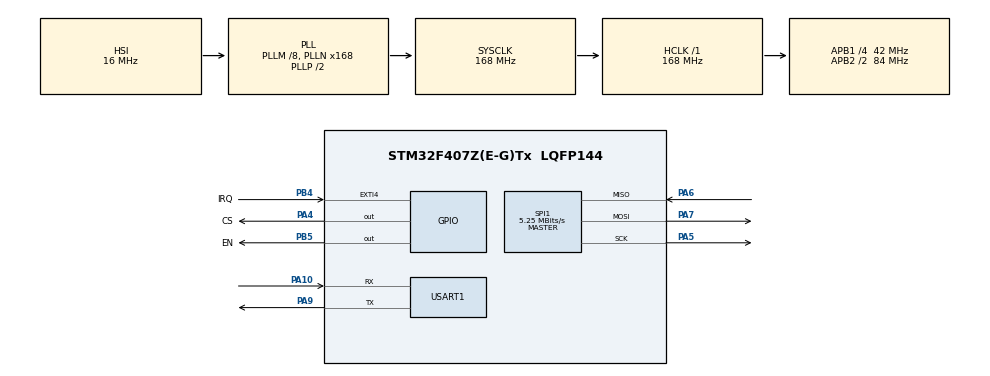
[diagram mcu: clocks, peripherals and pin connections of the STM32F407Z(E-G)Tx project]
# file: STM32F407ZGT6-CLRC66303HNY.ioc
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Mcu.Family=STM32F4
Mcu.Name=STM32F407Z(E-G)Tx
Mcu.Package=LQFP144
NVIC.EXTI4_IRQn=true\:1\:0\:true\:false\:true\:true\:true\:true
NVIC.PriorityGroup=NVIC_PRIORITYGROUP_4
PA10.Mode=Asynchronous
PA10.Signal=USART1_RX
PA13.Mode=Serial_Wire
PA13.Signal=SYS_JTMS-SWDIO
PA14.Mode=Serial_Wire
PA14.Signal=SYS_JTCK-SWCLK
PA4.GPIO_Label=CS
PA4.PinState=GPIO_PIN_SET
PA4.Signal=GPIO_Output
PA5.Mode=Full_Duplex_Master
PA5.Signal=SPI1_SCK
PA6.Mode=Full_Duplex_Master
PA6.Signal=SPI1_MISO
PA7.Mode=Full_Duplex_Master
PA7.Signal=SPI1_MOSI
PA9.Mode=Asynchronous
PA9.Signal=USART1_TX
PB4.GPIO_Label=IRQ
PB4.GPIO_ModeDefaultEXTI=GPIO_MODE_IT_FALLING
PB4.GPIO_PuPd=GPIO_PULLUP
PB4.Signal=GPXTI4
PB5.GPIO_Label=EN
PB5.Signal=GPIO_Output
PC14-OSC32_IN.Mode=LSE-External-Oscillator
PC14-OSC32_IN.Signal=RCC_OSC32_IN
PC15-OSC32_OUT.Mode=LSE-External-Oscillator
PC15-OSC32_OUT.Signal=RCC_OSC32_OUT
PH0-OSC_IN.Mode=HSE-External-Oscillator
PH0-OSC_IN.Signal=RCC_OSC_IN
PH1-OSC_OUT.Mode=HSE-External-Oscillator
PH1-OSC_OUT.Signal=RCC_OSC_OUT
ProjectManager.HeapSize=0x200
ProjectManager.StackSize=0x400
ProjectManager.TargetToolchain=CMake
RCC.48MHZClocksFreq_Value=84000000
RCC.AHBFreq_Value=168000000
RCC.APB1CLKDivider=RCC_HCLK_DIV4
RCC.APB1Freq_Value=42000000
RCC.APB1TimFreq_Value=84000000
RCC.APB2CLKDivider=RCC_HCLK_DIV2
RCC.APB2Freq_Value=84000000
RCC.APB2TimFreq_Value=168000000
RCC.CortexFreq_Value=168000000
RCC.HCLKFreq_Value=168000000
RCC.HSE_VALUE=8000000
RCC.HSI_VALUE=16000000
RCC.PLLM=8
RCC.PLLN=168
RCC.SYSCLKFreq_VALUE=168000000
RCC.SYSCLKSource=RCC_SYSCLKSOURCE_PLLCLK
RCC.VCOOutputFreq_Value=336000000
SPI1.BaudRatePrescaler=SPI_BAUDRATEPRESCALER_16
SPI1.CalculateBaudRate=5.25 MBits/s
SPI1.Direction=SPI_DIRECTION_2LINES
SPI1.Mode=SPI_MODE_MASTER
SPI1.VirtualType=VM_MASTER
USART1.VirtualMode=VM_ASYNC
board=custom

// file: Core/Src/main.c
/* USER CODE BEGIN Header */
/**
  ******************************************************************************
  * @file           : main.c
  * @brief          : Main program body (CLRC66303HNY RFID/NFC 读卡工程)
  *                   支持 ISO14443-A 多级级联 UID 解析与用户数据块读取
  *
  * 迭代更新记录 (Revision History):
  *   - v1.0 (2026-10-18): 完成底层硬件 SPI1 通信配置及基础寄存器读写自检
  *   - v1.1 (2026-10-26): 增加 ISO14443-A 协议配置与基础 REQA 轮询寻卡逻辑
  *   - v1.2 (2026-11-02): 修复连续 FIFO 突发读导致的 BCC 校验异常，重构为单字节安全传输
  *   - v1.3 (2026-11-05): 引入多级级联 (Cascade Level 1/2/3) 防冲撞与选卡机制
  *   - v1.4 (2026-11-08): 增加进出场防抖状态机、HLTA 挂起与第 4 块用户数据区自动读取
  ******************************************************************************
  */
/* USER CODE END Header */
#include "main.h"
#include "spi.h"
#include "usart.h"
#include "gpio.h"

/* USER CODE BEGIN Includes */
#include "rc663.h"
#include <stdio.h>
#include <string.h>
/* USER CODE END Includes */

void SystemClock_Config(void);

int main(void)
{

  /* MCU Configuration--------------------------------------------------------*/

  /* Reset of all peripherals, Initializes the Flash interface and the Systick. */
  HAL_Init();

  /* Configure the system clock */
  SystemClock_Config();

  /* Initialize all configured peripherals */
  MX_GPIO_Init();
  MX_SPI1_Init();
  MX_USART1_UART_Init();
  /* USER CODE BEGIN 2 */
  printf("\r\n=======================================================\r\n");
  printf("  CLRC66303HNY SPI Reader (ISO/IEC 14443-A)\r\n");
  printf("  Platform: STM32F407ZGT6 | SPI1 (PA5-SCK, PA6-MISO, PA7-MOSI, PA4-CS)\r\n");
  printf("  Hardware: IFSEL1=3.3V, IFSEL0=GND (SPI Mode) | PDOWN=PB5\r\n");
  printf("  Firmware: Build v1.4.2 [Release: 2026-11-08]\r\n");
  printf("=======================================================\r\n");

  RC663_Init(); /* PDOWN 硬件脉冲复位 + SoftReset 0x1F */

  RC663_Status_t selfTestStatus = RC663_SelfTest();
  if (selfTestStatus == RC663_OK)
  {
    if (RC663_LoadProtocolA() != RC663_OK)
    {
      printf("[APP] LoadProtocol failed, system stopped.\r\n");
    }
    else
    {
      printf("[APP] Reader Ready! Please place an ISO14443-A card near the antenna...\r\n");
    }
  }
  else
  {
    printf("[APP] RC663 SPI self-test failed! Please check hardware connections.\r\n");
  }
  /* USER CODE END 2 */

  /* Infinite loop */
  /* USER CODE BEGIN WHILE */
  static uint8_t lastUid[10] = {0};
  static uint8_t lastUidLen = 0;
  static uint8_t cardPresent = 0;

  while (1)
  {
    if (selfTestStatus == RC663_OK)
    {
      uint8_t uid[10] = {0};
      uint8_t uidLen = 0;
      uint8_t sak = 0;
      uint8_t atqa[2] = {0};

      /* 执行 WUPA 唤醒寻卡、多层级防冲撞与选卡 */
      RC663_Status_t status = RC663_ReadCardUID(uid, &uidLen, &sak, atqa);

      if (status == RC663_OK)
      {
        /* 卡片进场判定：仅在新卡进入或 UID 改变时触发打印，杜绝串口疯狂刷屏 */
        if ((cardPresent == 0) || (lastUidLen != uidLen) || (memcmp(lastUid, uid, uidLen) != 0))
        {
          printf("\r\n-------------------------------------------------------\r\n");
          printf("[CARD] Card Detected! (卡片已进入)\r\n");
          printf("       UID(%u): ", (unsigned int)uidLen);
          for (uint8_t i = 0; i < uidLen; i++)
          {
            printf("%02X ", uid[i]);
          }
          printf("\r\n");

          printf("       ATQA:    0x%02X%02X\r\n", atqa[1], atqa[0]);
          printf("       SAK:     0x%02X", sak);

          /* 卡片类型详细语义解析 */
          if (sak & 0x20U)
          {
            printf(" (ISO/IEC 14443-4 PICC, e.g. DESFire / CPU Card)\r\n");
          }
          else if (sak == 0x08U)
          {
            printf(" (MIFARE Classic 1K)\r\n");
          }
          else if (sak == 0x18U)
          {
            printf(" (MIFARE Classic 4K)\r\n");
          }
          else if (sak == 0x00U)
          {
            printf(" (NTAG213/215/216 / MIFARE Ultralight)\r\n");
          }
          else
          {
            printf(" (Standard ISO14443-A Tag)\r\n");
          }

          /* 若为免密 NTAG / Ultralight 卡片，演示自动读取 Block 4..7 (16 字节数据) */
          if ((uidLen == 7) && (sak == 0x00))
          {
            uint8_t blockData[16] = {0};
            if (RC663_ReadBlock(4, blockData) == RC663_OK)
            {
              printf("       User Memory [Block 4..7]:\r\n       >> ");
              for (uint8_t i = 0; i < 16; i++)
              {
                printf("%02X ", blockData[i]);
                if ((i + 1) % 4 == 0) printf(" ");
              }
              printf("\r\n");
            }
          }

          printf("-------------------------------------------------------\r\n");

          memcpy(lastUid, uid, uidLen);
          lastUidLen = uidLen;
          cardPresent = 1;
        }

        /* 读取完毕后发送 HLTA 让卡片休眠，下轮轮询由 WUPA 再次唤醒 */
        RC663_HaltCard();
        HAL_Delay(100);
      }
      else
      {
        /* 卡片离场判定：此前在场但当前无响应，说明卡片已移走 */
        if (cardPresent != 0)
        {
          printf("[CARD] Card Removed (卡片已离开)\r\n");
          cardPresent = 0;
          lastUidLen = 0;
          memset(lastUid, 0, sizeof(lastUid));
        }

        HAL_Delay(100);
      }
    }
    else
    {
      HAL_Delay(1000);
    }
    /* USER CODE END WHILE */

  }
}

void SystemClock_Config(void)
{
  RCC_OscInitTypeDef RCC_OscInitStruct = {0};
  RCC_ClkInitTypeDef RCC_ClkInitStruct = {0};

  /** Configure the main internal regulator output voltage
  */
  __HAL_RCC_PWR_CLK_ENABLE();
  __HAL_PWR_VOLTAGESCALING_CONFIG(PWR_REGULATOR_VOLTAGE_SCALE1);

  /** Initializes the RCC Oscillators according to the specified parameters
  * in the RCC_OscInitTypeDef structure.
  */
  RCC_OscInitStruct.OscillatorType = RCC_OSCILLATORTYPE_HSI;
  RCC_OscInitStruct.HSIState = RCC_HSI_ON;
  RCC_OscInitStruct.HSICalibrationValue = RCC_HSICALIBRATION_DEFAULT;
  RCC_OscInitStruct.PLL.PLLState = RCC_PLL_ON;
  RCC_OscInitStruct.PLL.PLLSource = RCC_PLLSOURCE_HSI;
  RCC_OscInitStruct.PLL.PLLM = 8;
  RCC_OscInitStruct.PLL.PLLN = 168;
  RCC_OscInitStruct.PLL.PLLP = RCC_PLLP_DIV2;
  RCC_OscInitStruct.PLL.PLLQ = 4;
  if (HAL_RCC_OscConfig(&RCC_OscInitStruct) != HAL_OK)
  {
    Error_Handler();
  }

  /** Initializes the CPU, AHB and APB buses clocks
  */
  RCC_ClkInitStruct.ClockType = RCC_CLOCKTYPE_HCLK|RCC_CLOCKTYPE_SYSCLK
                              |RCC_CLOCKTYPE_PCLK1|RCC_CLOCKTYPE_PCLK2;
  RCC_ClkInitStruct.SYSCLKSource = RCC_SYSCLKSOURCE_PLLCLK;
  RCC_ClkInitStruct.AHBCLKDivider = RCC_SYSCLK_DIV1;
  RCC_ClkInitStruct.APB1CLKDivider = RCC_HCLK_DIV4;
  RCC_ClkInitStruct.APB2CLKDivider = RCC_HCLK_DIV2;

  if (HAL_RCC_ClockConfig(&RCC_ClkInitStruct, FLASH_LATENCY_5) != HAL_OK)
  {
    Error_Handler();
  }
}

void Error_Handler(void)
{
  __disable_irq();
  while (1)
  {
  }
}
